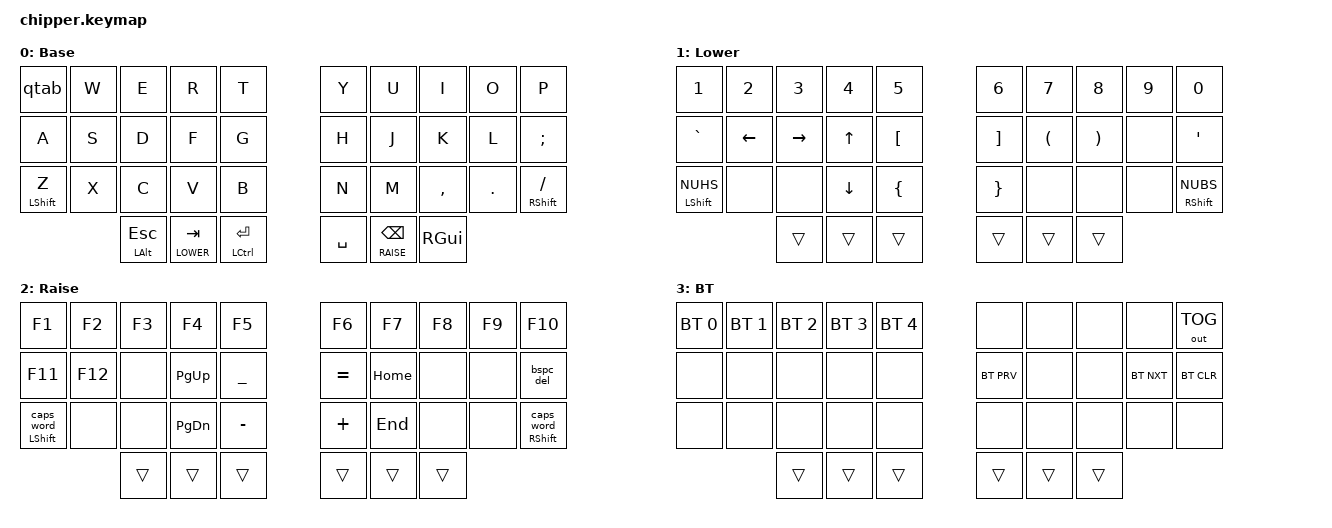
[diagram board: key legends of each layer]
/*
 * Copyright (c) 2020 The ZMK Contributors
 *
 * SPDX-License-Identifier: MIT
 */

#include <behaviors.dtsi>
#include <dt-bindings/zmk/bt.h>
#include <dt-bindings/zmk/keys.h>
#include <dt-bindings/zmk/outputs.h>

#define COMBO_TIMEOUT 60
#define DEFAULT     0
#define LOWER       1
#define RAISE       2
#define BLUETOOTH   3

&caps_word { continue-list = <UNDERSCORE MINUS BACKSPACE DELETE HOME END LEFT RIGHT>; };

&kscan0 {
    debounce-press-ms = <20>;
    debounce-release-ms = <20>;
};

/ {
    combos {
        compatible = "zmk,combos";

        combo_studio_unlock {
            timeout-ms = <50>;
            key-positions = <18 19>;
            bindings = <&studio_unlock>;
        };
    };
};

/ {
    conditional_layers {
        compatible = "zmk,conditional-layers";

        tri_layer {
            if-layers = <1 2>;
            then-layer = <3>;
        };
    };
};

/ {
    behaviors {
        qtab: q_tab {
            compatible = "zmk,behavior-mod-morph";
            label = "Q_TAB";
            #binding-cells = <0>;
            bindings = <&kp Q>, <&kp TAB>;

            mods = <(MOD_LALT|MOD_RALT)>;
            keep-mods = <(MOD_LALT|MOD_RALT)>;
        };

        bspc_del: backspace_delete {
            compatible = "zmk,behavior-mod-morph";
            label = "BACKSPACE_DELETE";
            #binding-cells = <0>;
            bindings = <&kp BACKSPACE>, <&kp DELETE>;

            mods = <(MOD_RSFT|MOD_LSFT)>;
            keep-mods = <(MOD_RSFT)>;
        };

        caps_tap: caps_tap {
            compatible = "zmk,behavior-hold-tap";
            label = "CAPS_TAP";
            #binding-cells = <2>;
            bindings = <&kp>, <&caps_word>;

            tapping-term-ms = <200>;
            flavor = "tap-preferred";
        };
    };
};

/ {
    keymap {
        compatible = "zmk,keymap";

        default_layer {
            // ------------------------------------------------------------------
            // |  Q  |  W  |  E  |  R  |  T  |   |  Y  |  U   |  I  |  O  |  P  | 
            // |  A  |  S  |  D  |  F  |  G  |   |  H  |  J   |  K  |  L  |  ;  |
            // |  Z  |  X  |  C  |  V  |  B  |   |  N  |  M   |  ,  |  .  |  /  | 
            // | ALT/ESC | LWR/TAB | CTL/ENT |   |   SPC   | RSE/BSPC |   GUI   |
            // ------------------------------------------------------------------

            bindings = <
&qtab        &kp W  &kp E  &kp R         &kp T          &kp Y          &kp U      &kp I           &kp O     &kp P
&kp A        &kp S  &kp D  &kp F         &kp G          &kp H          &kp J      &kp K           &kp L     &kp SEMI
&mt LSHFT Z  &kp X  &kp C  &kp V         &kp B          &kp N          &kp M      &kp COMMA       &kp DOT   &mt RSHFT FSLH
                           &mt LALT ESC  &lt LOWER TAB  &mt LCTRL RET  &kp SPACE  &lt RAISE BSPC  &kp RGUI
            >;

            label = "Base";
        };

        lower_layer {
            bindings = <
&kp N1          &kp N2    &kp N3     &kp N4    &kp N5    &kp N6    &kp N7    &kp N8    &kp N9  &kp N0
&kp GRAVE       &kp LEFT  &kp RIGHT  &kp UP    &kp LBKT  &kp RBKT  &kp LPAR  &kp RPAR  &none   &kp SQT
&mt LSHFT NUHS  &none     &none      &kp DOWN  &kp LBRC  &kp RBRC  &none     &none     &none   &mt RSHFT NUBS
                                     &trans    &trans    &trans    &trans    &trans    &trans
            >;

            label = "Lower";
        };

        raise_layer {
            bindings = <
&kp F1             &kp F2   &kp F3  &kp F4     &kp F5     &kp F6     &kp F7    &kp F8  &kp F9  &kp F10
&kp F11            &kp F12  &none   &kp PG_UP  &kp UNDER  &kp EQUAL  &kp HOME  &none   &none   &bspc_del
&caps_tap LSHFT 0  &none    &none   &kp PG_DN  &kp MINUS  &kp PLUS   &kp END   &none   &none   &caps_tap RSHFT 0
                                    &trans     &trans     &trans     &trans    &trans  &trans
            >;

            label = "Raise";
        };

        bluetooth_layer {
            bindings = <
&bt BT_SEL 0  &bt BT_SEL 1  &bt BT_SEL 2  &bt BT_SEL 3  &bt BT_SEL 4  &none       &none   &none   &none       &out OUT_TOG
&none         &none         &none         &none         &none         &bt BT_PRV  &none   &none   &bt BT_NXT  &bt BT_CLR
&none         &none         &none         &none         &none         &none       &none   &none   &none       &none
                                          &trans        &trans        &trans      &trans  &trans  &trans
            >;

            label = "BT";
        };
    };
};
